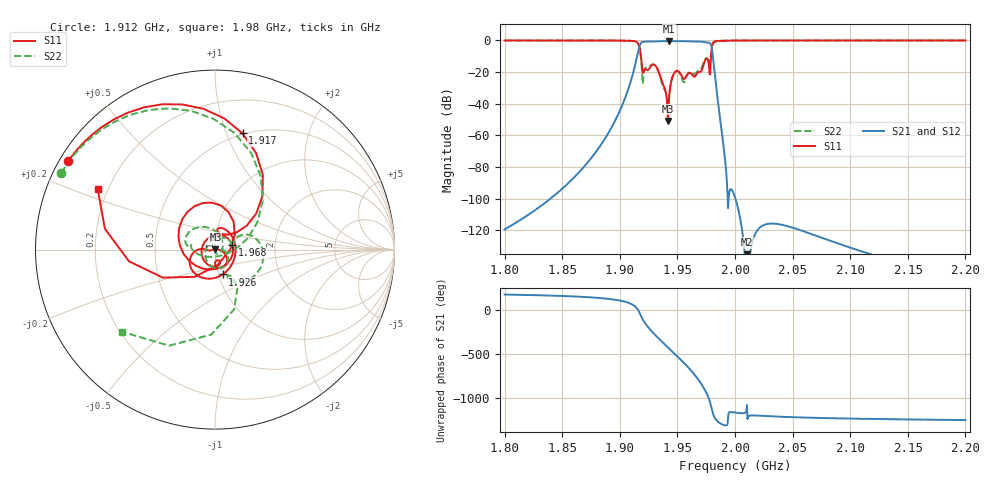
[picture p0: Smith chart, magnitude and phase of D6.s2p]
! Touchstone file exported from HFSS 2023.1.0
!  File:  E:/1.Project/CoxailF/seventhree.aedt
!  Generated:  10:58:43 %x4E0A%x5348  5%x6708 25, 2023
!  Design:  Resonator_out10
!  Project:  seventhree
!  Setup:  Setup1
!  Solution:  Sweep
! Variables:
!  Hin1 = 26mm
!  Hout = 29mm
!  L12 = 14.8mm
!  L13 = 14.75mm
!  L23 = 6.95mm
!  L34 = 12.5mm
!  L45 = 7.75mm
!  L46 = 3.5mm
!  L56 = 8mm
!  L67 = 12.5mm
!  L78 = 8.8mm
!  L79 = 10mm
!  L89 = 15.5mm
!  Rin = 5mm
!  Rin2 = 4mm
!  Rout = 15mm
!  Rport = 1.15mm
!  Rport2 = 3mm
!  Rportin = 0.5mm
!  d = 3mm
!  d01 = 2.9mm
!  d02 = 3.55mm
!  d03 = 3.66mm
!  d04 = 3.74mm
!  d05 = 3.745mm
!  d06 = 3.76mm
!  d07 = 3.672mm
!  d08 = 3.53mm
!  d09 = 2.92mm
!  d12 = 18mm
!  d12x = 15.5mm
!  d12y = 25mm
!  d23 = 18mm
!  d34 = 30mm
!  hport = 10.4mm
!  hport2 = 10.4mm
!  lport = 12mm
!  lport2 = 1mm
!  lport_2 = 12mm
!  m = 2mm
!  w12 = 12mm
!  w13 = 10mm
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# GHz S MA R 50.000000
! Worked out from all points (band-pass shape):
!   1001 points, 1.8 GHz to 2.2 GHz, reference 50 ohm
!   highest |S21| = -0.45 dB at 1.942 GHz (marker M1); lowest = -188.7 dB at 2.01 GHz (marker M2)
!   |S21| within 3 dB of the highest: 1.917 GHz to 1.979 GHz (62.22 MHz wide, 3.19 % of centre)
!   lowest |S11| = -50.9 dB at 1.942 GHz (marker M3), VSWR 1.01, Z = 50.3 + j0.122 ohm
!   |S11| at or under -10 dB: 1.918 GHz to 1.979 GHz (60.82 MHz wide, 3.12 % of centre)
!   |S22| runs from -40.6 to 0.0 dB; largest |S21 - S12| = 2.3e-11
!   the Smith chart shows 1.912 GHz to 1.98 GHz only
!   S11 on the Smith chart (normalised r, x): 1.912 GHz: 0.02, +0.28; 1.917 GHz: 0.49, +1.14; 1.926 GHz: 1.05, -0.30; 1.968 GHz: 1.21, +0.06; 1.98 GHz: 0.16, +0.24
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1.8  0.9985 -90.2  1.07e-06 178.9  1.07e-06 178.9  0.9985 -90.3
! Gamma 0.0541246023641802 37.7799046232983 0.0540315756597641 37.779802246039
! Port Impedance 50 0 50 0
1.8668  0.9961 -115.3  8.356e-05 153.4  8.356e-05 153.4  0.9962 -115.0
1.912  0.9553 148.9  0.1087 56.5  0.1087 56.5  0.957 153.5
1.9168  0.6657 76.7  0.5968 -19.4  0.5968 -19.4  0.6589 80.5
1.9204  0.09718 79.3  0.9087 -115.2  0.9087 -115.2  0.06781 -145.2
1.9264  0.1448 -72.7  0.9264 140.7  0.9264 140.7  0.1567 171.5
1.9336  0.1067 -176.7  0.9408 42.0  0.9408 42.0  0.1008 87.3
1.942  0.002841 25.4  0.9496 -63.9  0.9496 -63.9  0.009309 -29.1
1.9424  0.009181 6.6  0.9496 -68.9  0.9496 -68.9  0.01264 -7.2
1.9508  0.1065 -76.5  0.9435 -173.2  0.9435 -173.2  0.1032 -87.6
1.958  0.07875 -69.5  0.942 91.7  0.942 91.7  0.0721 68.0
1.9636  0.07608 -170.0  0.9352 9.9  0.9352 9.9  0.08859 11.7
1.9684  0.1003 14.3  0.9233 -70.7  0.9233 -70.7  0.1147 22.3
1.9736  0.2151 161.2  0.882 -178.5  0.882 -178.5  0.233 16.0
1.9804  0.7348 152.8  0.4113 -70.3  0.4113 -70.3  0.6905 -138.4
1.9848  0.9612 70.4  0.01529 -179.8  0.01529 -179.8  0.9422 91.9
1.992  0.9837 27.8  9.769e-05 133.0  9.769e-05 133.0  0.9804 33.7
2  0.9907 4.6  1.109e-05 -80.8  1.109e-05 -80.8  0.9898 6.9
2.0104  0.9943 -13.2  3.661e-10 5.2  3.661e-10 5.2  0.9941 -12.2
2.0668  0.9984 -50.0  7.517e-07 -139.7  7.517e-07 -139.7  0.9984 -49.9
2.1336  0.999 -66.1  1.177e-07 -156.0  1.177e-07 -156.0  0.999 -66.2
2.2  0.999 -76.1  2.85e-08 -166.1  2.85e-08 -166.1  0.999 -76.2
